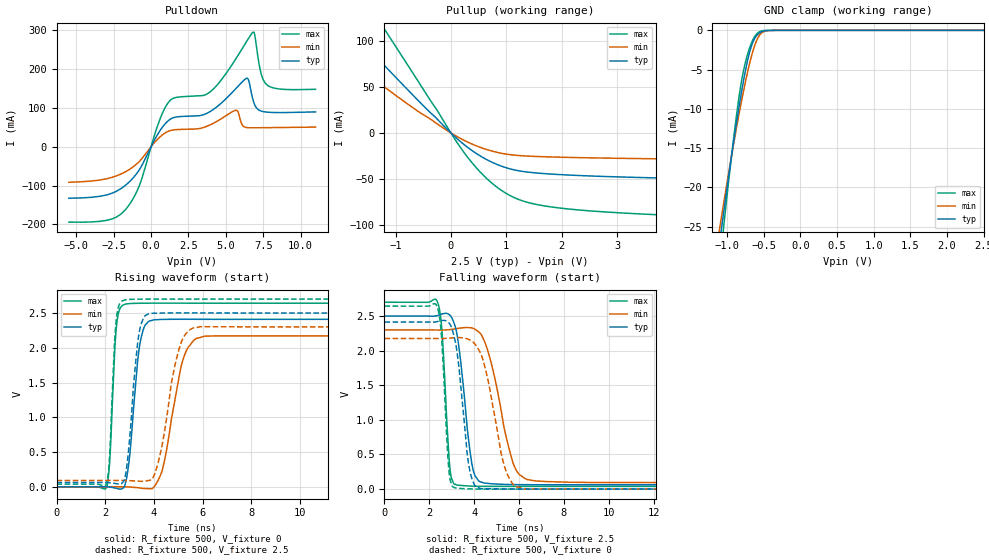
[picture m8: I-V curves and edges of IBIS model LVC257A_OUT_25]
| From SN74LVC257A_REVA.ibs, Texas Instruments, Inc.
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[Model]   LVC257A_OUT_25
Model_type  3-state
Enable   Active-Low
Vref =   0
Rref =   500
Cref =   30p
Vmeas =   1.25
| variable   typ   min   max
C_comp   4.00pF   3.54pF   4.42pF
| C_pullup   5.75pF   4.04pF   6.41pF
| C_pulldown   7.66pF   4.16pF   11.41pF
| C_tri-state   4.00pF   3.54pF   4.42pF
[Temperature Range]   40   100   -40
| Ambient temperature   25   85   -40
[Voltage range]   2.5   2.3   2.7
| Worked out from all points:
|   slope of the pulldown table from 0 to 0.375 V, typ, clamps not added: 13.6 ohm
|   slope of the pullup table from 0 to 0.375 V, typ, clamps not added: 20 ohm
|   GND clamp passes 1 mA (typ) near -0.62 V on its own axis
|   rising waveform, R_fixture 500, V_fixture 0: 20-80 % time 357ps typ, 653ps min, 206ps max; typ from 0 V to 2.41 V
|   falling waveform, R_fixture 500, V_fixture 2.5: 20-80 % time 479ps typ, 867ps min, 267ps max; typ from 2.5 V to 0.062 V
|   rising waveform, R_fixture 500, V_fixture 2.5: 20-80 % time 351ps typ, 641ps min, 200ps max; typ from 0.062 V to 2.5 V
|   falling waveform, R_fixture 500, V_fixture 0: 20-80 % time 442ps typ, 763ps min, 255ps max; typ from 2.41 V to 0 V
[GND Clamp]
| LVC257A_OUT_25
|   Voltage   I(typ)   I(min)   I(max)
-5.5V     -447.4mA   -374mA     -553.8mA
-1.115V   -28.07mA   -26.07mA   -31.26mA
-1.075V   -25.22mA   -23.71mA   -27.63mA
-1.04V    -22.78mA   -21.67mA   -24.52mA
-900mV    -13.56mA   -13.93mA   -12.98mA
-795mV    -7.448mA   -8.655mA   -6.079mA
-750mV    -5.175mA   -6.598mA   -4.101mA
-685mV    -2.54mA    -3.947mA   -2.049mA
-585mV    -551.6uA   -1.063mA   -358.9uA
-520mV    -148.8uA   -274.8uA   -65.08uA
-435mV    -18.33uA   -33.82uA   -4.033uA
2.5V      49.73pA    72.66nA    24.54pA
[Pulldown]
| LVC257A_OUT_25
|   Voltage   I(typ)   I(min)   I(max)
-5.5V     -132.6mA   -91.53mA   -193.9mA
-1.82V    -102.5mA   -66.72mA   -166.2mA
-800mV    -60.15mA   -38.54mA   -101.4mA
430mV     30.99mA    19.02mA    53.54mA
1.13V     66.04mA    39.16mA    112.4mA
3.995V    91.33mA    56.75mA    142.3mA
5.685V    149.9mA    93.44mA    226.9mA
6.39V     175.8mA    49.12mA    270.5mA
6.825V    118.8mA    48.49mA    294.4mA
7.345V    91.68mA    48.64mA    189.8mA
7.725V    88.81mA    48.79mA    159.5mA
11V       89.32mA    50.26mA    147.3mA
[Pullup]
| LVC257A_OUT_25
|   Voltage   I(typ)   I(min)   I(max)
-5.5V     346.6mA    261.6mA    476.5mA
-2.55V    159.1mA    113.6mA    232.9mA
-1.865V   115.2mA    80.57mA    172.5mA
-1.31V    79.92mA    54.74mA    122.4mA
-1.185V   72.03mA    49.09mA    110.9mA
15mV      -861.7uA   -551.4uA   -1.442mA
455mV     -22.05mA   -13.85mA   -37.41mA
955mV     -36.82mA   -22.44mA   -63.83mA
1.53V     -43.24mA   -25.42mA   -77.21mA
2.495V    -46.51mA   -26.91mA   -84.26mA
3.985V    -49.03mA   -28.14mA   -89.19mA
11V       -55.6mA    -31.32mA   -102.3mA
[Ramp]
| LVC257A_OUT_25
| variable   typ   min   max
dV/dt_r   1.47/3.84E-10   1.32/6.99E-10   1.61/2.22E-10
dV/dt_f   1.49/5.16E-10   1.34/9.31E-10   1.62/2.77E-10
R_load = 500
[Rising Waveform]
| LVC257A_OUT_25
R_fixture =   500
C_fixture =   0
L_fixture =   0
V_fixture =   0
V_fixture_min = 0
V_fixture_max = 0
|   Time   V(typ)   V(min)   V(max)
0s        296.7pV    4.466nV    75.65pV
2.07ns    539.1uV    138.6uV    4.621mV
2.46ns    -21.01mV   922.1uV    2.308V
2.82ns    38.12mV    178.5uV    2.627V
3.4ns     2.005V     -15.1mV    2.64V
3.825ns   2.387V     -26.77mV   2.641V
4.345ns   2.408V     248mV      2.642V
5.2ns     2.41V      1.838V     2.641V
5.79ns    2.409V     2.141V     2.641V
24.99ns   2.409V     2.168V     2.641V
[Falling Waveform]
| LVC257A_OUT_25
R_fixture =   500
C_fixture =   0
L_fixture =   0
V_fixture =   2.5
V_fixture_min = 2.3
V_fixture_max = 2.7
|   Time   V(typ)   V(min)   V(max)
0s        2.5V       2.3V       2.7V
2.37ns    2.508V     2.299V     2.699V
2.565ns   2.53V      2.298V     2.281V
2.9ns     2.519V     2.304V     363.2mV
3.13ns    2.373V     2.315V     66.79mV
3.895ns   369.7mV    2.33V      42.9mV
4.27ns    104.2mV    2.251V     40.03mV
5.73ns    65.33mV    379.4mV    38.92mV
6.37ns    63.29mV    136.8mV    38.97mV
24.99ns   62.4mV     91.84mV    38.97mV
[Rising Waveform]
| LVC257A_OUT_25
R_fixture =   500
C_fixture =   0
L_fixture =   0
V_fixture =   2.5
V_fixture_min = 2.3
V_fixture_max = 2.7
|   Time   V(typ)   V(min)   V(max)
0s        62.38mV    91.8mV     38.96mV
2.03ns    62.96mV    91.87mV    30.35mV
2.165ns   59.95mV    92.07mV    359.3mV
2.45ns    46.2mV     92.42mV    2.392V
2.8ns     119.3mV    91.43mV    2.687V
3.355ns   2.134V     82.1mV     2.699V
3.795ns   2.491V     92.18mV    2.7V
5.025ns   2.501V     1.975V     2.7V
5.61ns    2.501V     2.284V     2.7V
24.99ns   2.5V       2.3V       2.7V
[Falling Waveform]
| LVC257A_OUT_25
R_fixture =   500
C_fixture =   0
L_fixture =   0
V_fixture =   0
V_fixture_min = 0
V_fixture_max = 0
|   Time   V(typ)   V(min)   V(max)
0s        2.414V     2.176V     2.644V
2.345ns   2.42V      2.175V     2.641V
2.54ns    2.436V     2.175V     2.22V
2.875ns   2.401V     2.181V     266mV
3.14ns    2.159V     2.188V     17.66mV
3.73ns    411.1mV    2.166V     3.455mV
4.12ns    22.92mV    2.057V     942.2uV
5.37ns    1.894mV    310.3mV    -160.2uV
6.14ns    344.6uV    7.63mV     -44.64uV
24.99ns   15.95uV    40.33uV    7.79uV
